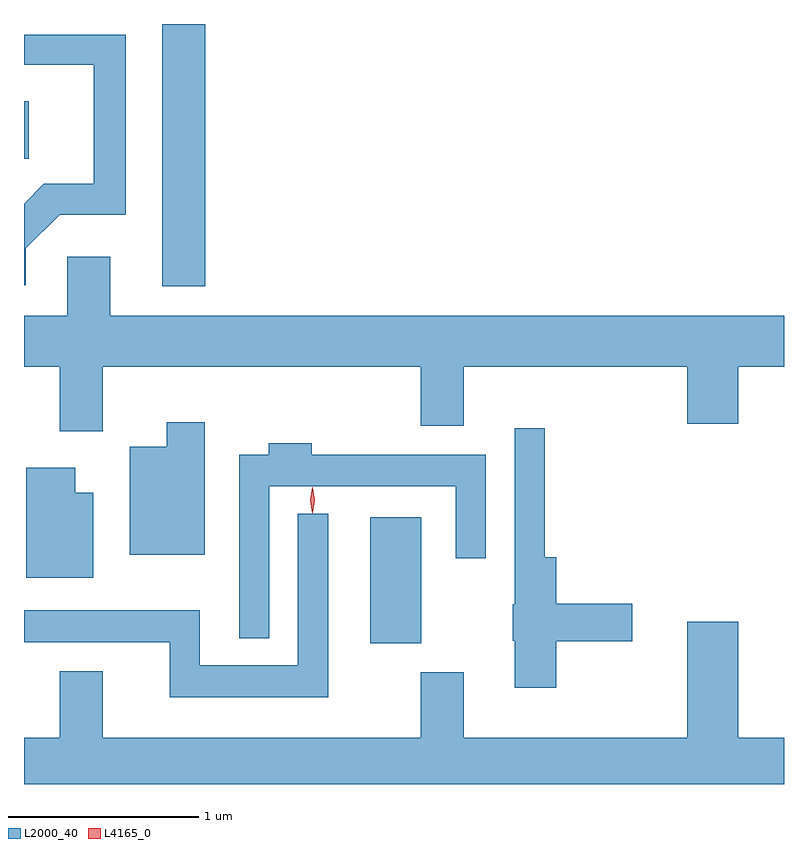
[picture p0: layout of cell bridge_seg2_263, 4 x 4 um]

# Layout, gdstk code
import gdstk
lib = gdstk.Library(unit=1e-6, precision=1e-09)
def R(c, l, rs):  # rectangles x0, y0, x1, y1
    for r in rs: c.add(gdstk.rectangle(r[:2], r[2:], *l))
def P(c, l, *ps):  # polygons
    for p in ps: c.add(gdstk.Polygon(p, *l))
L2000_40 = (2000, 40)
L4165_0 = (4165, 0)

bridge_seg2_263 = lib.new_cell('bridge_seg2_263')
R(bridge_seg2_263, L2000_40, [(593.026,1066.841,593.294,1067.504), (591.931,1068.721,592.159,1070.1), (591.204,1069.391,591.229,1069.694)])
P(bridge_seg2_263, L2000_40, [(591.214,1068.919),(591.392,1069.096),(591.739,1069.096),(591.739,1070.044),(591.204,1070.044),(591.204,1069.886),(591.571,1069.886),(591.571,1069.259),(591.309,1069.259),(591.204,1069.154),(591.204,1068.726),(591.214,1068.726)],
  [(591.619,1068.296),(593.291,1068.296),(593.291,1067.986),(593.519,1067.986),(593.519,1068.296),(594.696,1068.296),(594.696,1067.996),(594.964,1067.996),(594.964,1068.296),(595.204,1068.296),(595.204,1068.564),(591.659,1068.564),(591.659,1068.874),(591.431,1068.874),(591.431,1068.564),(591.204,1068.564),(591.204,1068.296),(591.391,1068.296),(591.391,1067.956),(591.619,1067.956)],
  [(592.154,1068.004),(591.956,1068.004),(591.956,1067.874),(591.761,1067.874),(591.761,1067.306),(592.154,1067.306)],
  [(594.004,1066.851),(594.404,1066.851),(594.404,1067.049),(594.004,1067.049),(594.004,1067.294),(593.944,1067.294),(593.944,1067.973),(593.786,1067.973),(593.786,1067.045),(593.776,1067.045),(593.776,1066.855),(593.786,1066.855),(593.786,1066.606),(594.004,1066.606)],
  [(592.494,1067.666),(593.476,1067.666),(593.476,1067.288),(593.634,1067.288),(593.634,1067.834),(592.719,1067.834),(592.719,1067.894),(592.491,1067.894),(592.491,1067.834),(592.336,1067.834),(592.336,1066.868),(592.494,1066.868)],
  [(591.569,1067.634),(591.474,1067.634),(591.474,1067.764),(591.216,1067.764),(591.216,1067.186),(591.569,1067.186)],
  [(592.804,1067.523),(592.646,1067.523),(592.646,1066.724),(592.129,1066.724),(592.129,1067.014),(591.204,1067.014),(591.204,1066.846),(591.971,1066.846),(591.971,1066.556),(592.804,1066.556)],
  [(595.204,1066.344),(594.964,1066.344),(594.964,1066.954),(594.696,1066.954),(594.696,1066.344),(593.519,1066.344),(593.519,1066.689),(593.291,1066.689),(593.291,1066.344),(591.619,1066.344),(591.619,1066.694),(591.391,1066.694),(591.391,1066.344),(591.204,1066.344),(591.204,1066.1),(595.204,1066.1)])
P(bridge_seg2_263, L4165_0, [(592.724,1067.528),(592.724,1067.528),(592.714,1067.594),(592.724,1067.66),(592.724,1067.66),(592.725,1067.66),(592.734,1067.594),(592.725,1067.528)],
  [(592.722,1067.524),(592.721,1067.525),(592.711,1067.593),(592.721,1067.662),(592.721,1067.663),(592.722,1067.662),(592.731,1067.594),(592.722,1067.525)])

lib.write_gds('bridge_seg2_263.gds')
